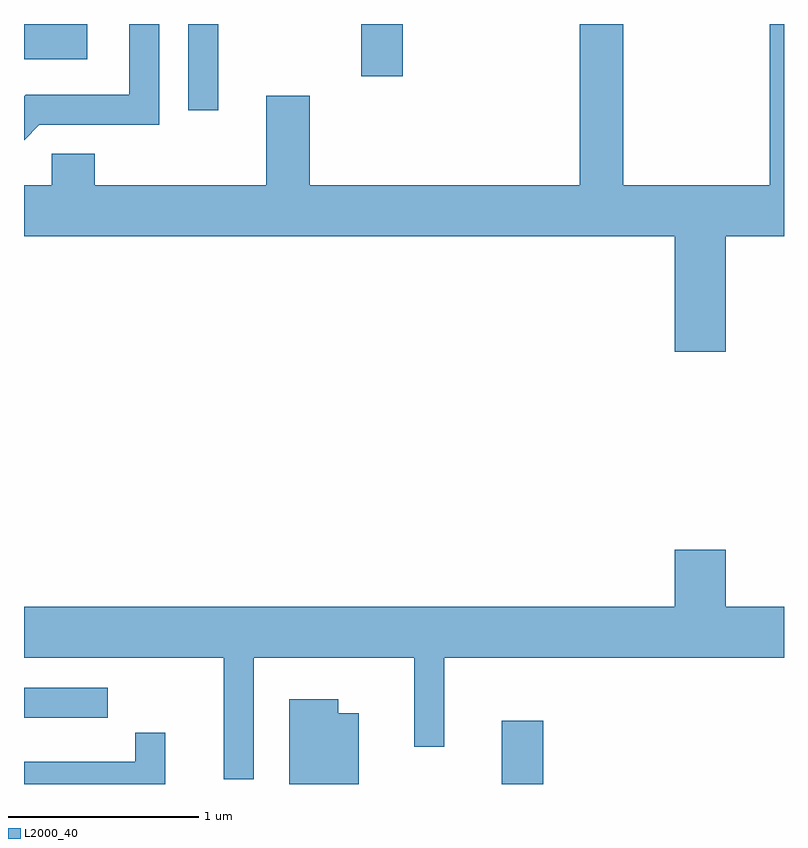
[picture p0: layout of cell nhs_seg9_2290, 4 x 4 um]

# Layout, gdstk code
import gdstk
lib = gdstk.Library(unit=1e-6, precision=1e-09)
def R(c, l, rs):  # rectangles x0, y0, x1, y1
    for r in rs: c.add(gdstk.rectangle(r[:2], r[2:], *l))
def P(c, l, *ps):  # polygons
    for p in ps: c.add(gdstk.Polygon(p, *l))
L2000_40 = (2000, 40)

nhs_seg9_2290 = lib.new_cell('nhs_seg9_2290')
R(nhs_seg9_2290, L2000_40, [(254.126,2044.432,254.344,2044.764), (251.611,2044.781,252.053,2044.939), (252.476,2047.978,252.634,2048.432), (253.386,2048.156,253.604,2048.432), (251.611,2048.246,251.944,2048.432)])
P(nhs_seg9_2290, L2000_40, [(255.304,2047.316),(255.611,2047.316),(255.611,2048.432),(255.536,2048.432),(255.536,2047.584),(254.764,2047.584),(254.764,2048.432),(254.536,2048.432),(254.536,2047.584),(253.114,2047.584),(253.114,2048.054),(252.886,2048.054),(252.886,2047.584),(251.984,2047.584),(251.984,2047.749),(251.756,2047.749),(251.756,2047.584),(251.611,2047.584),(251.611,2047.316),(255.036,2047.316),(255.036,2046.706),(255.304,2046.706)],
  [(251.692,2047.901),(252.324,2047.901),(252.324,2048.432),(252.166,2048.432),(252.166,2048.059),(251.619,2048.059),(251.611,2048.051),(251.611,2047.82)],
  [(252.819,2045.096),(253.666,2045.096),(253.666,2044.628),(253.824,2044.628),(253.824,2045.096),(255.611,2045.096),(255.611,2045.364),(255.304,2045.364),(255.304,2045.664),(255.036,2045.664),(255.036,2045.364),(251.611,2045.364),(251.611,2045.096),(252.661,2045.096),(252.661,2044.458),(252.819,2044.458)],
  [(253.374,2044.804),(253.264,2044.804),(253.264,2044.879),(253.006,2044.879),(253.006,2044.432),(253.374,2044.432)],
  [(252.354,2044.703),(252.196,2044.703),(252.196,2044.549),(251.611,2044.549),(251.611,2044.432),(252.354,2044.432)])

lib.write_gds('nhs_seg9_2290.gds')
